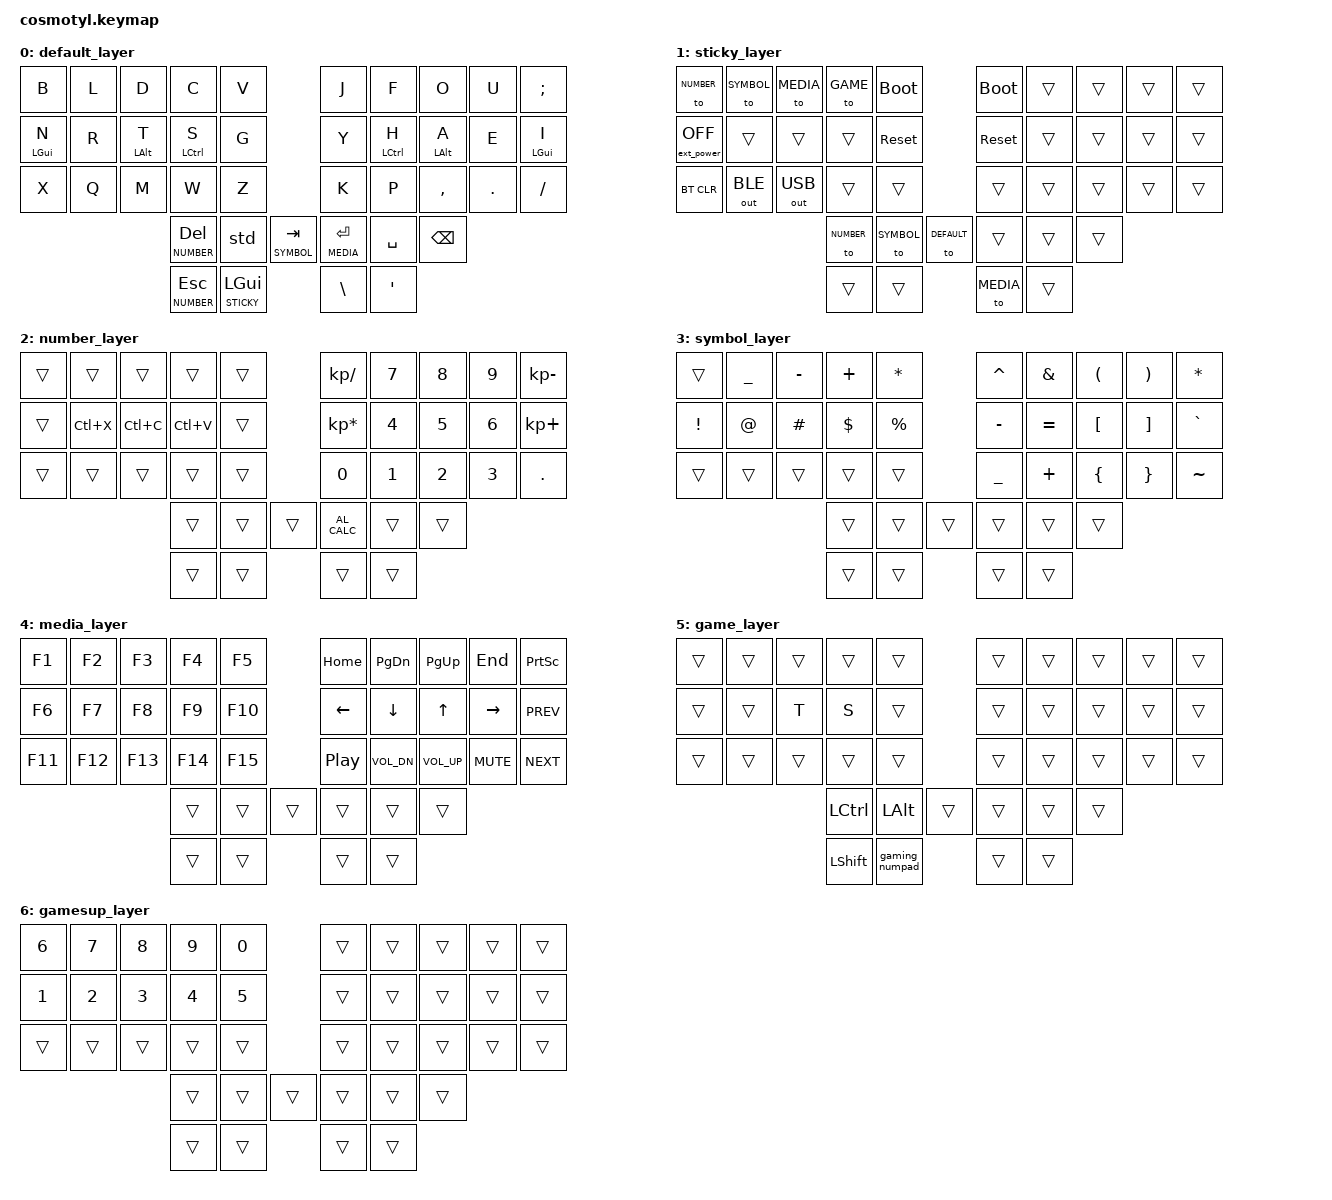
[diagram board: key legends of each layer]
/*
 * Copyright (c) 2020 The ZMK Contributors
 *
 * SPDX-License-Identifier: MIT
 */

#include <behaviors.dtsi>
#include <dt-bindings/zmk/keys.h>
#include <dt-bindings/zmk/bt.h>
#include <dt-bindings/zmk/outputs.h>
#include <dt-bindings/zmk/ext_power.h>

#define DEFAULT 0
#define STICKY  1
#define NUMBER  2
#define SYMBOL  3
#define MEDIA   4
#define GAME    5
#define GAMESUP 6

/ {
  behaviors {
    hm: homerow_mods {
      compatible = "zmk,behavior-hold-tap";
      #binding-cells = <2>;
      tapping-term-ms = <200>;
      require-prior-idle-ms = <150>;
      flavor = "tap-preferred";
      bindings = <&kp>, <&kp>;
    };
    llt: left_layer_tap {
      compatible = "zmk,behavior-hold-tap";
      #binding-cells = <2>;
      tapping-term-ms = <200>;
      flavor = "hold-preferred";
      bindings = <&mo>, <&kp>;
    };
    rlt: right_layer_tap {
      compatible = "zmk,behavior-hold-tap";
      #binding-cells = <2>;
      flavor = "balanced";
      tapping-term-ms = <200>;
      bindings = <&mo>, <&kp>;
    };
    sticky_shift: sticky_shift {
      compatible = "zmk,behavior-sticky-key";
      #binding-cells = <1>;
      bindings = <&kp>;
      release-after-ms = <1000>;
      quick-release;
      ignore-modifiers;
    };
    std: shift_tap_dance {
      compatible = "zmk,behavior-tap-dance";
      #binding-cells = <0>;
      tapping-term-ms = <200>;
      bindings = <&kp LSHIFT>, <&caps_word>;
    };
  };

  combos {
    compatible = "zmk,combos";
    combo_reset {
      timeout-ms = <50>;
      key-positions = <0 4 5 9>;
      bindings = <&bootloader>;
    };
    combo_sysreset {
      timeout-ms = <50>;
      key-positions = <20 24 25 29>;
      bindings = <&sys_reset>;
    };
  };

  macros {
    gaming_numpad: gaming_numpad {
      compatible = "zmk,behavior-macro";
      #binding-cells = <0>;
      bindings
        = <&macro_press &mo NUMBER>
        , <&macro_press &mo GAMESUP>
        , <&macro_pause_for_release>
        , <&macro_release &mo GAMESUP>
        , <&macro_release &mo NUMBER>
        ;
    };
  };

  keymap {
    compatible = "zmk,keymap";

    default_layer {
      bindings = <
   &kp B &kp L &kp D      &kp C       &kp V              &kp J &kp F       &kp O      &kp U   &kp SEMI
   &hm LGUI N &kp R &hm LALT T &hm LCTRL S &kp G              &kp Y &hm LCTRL H &hm LALT A &kp E   &hm LGUI I   
   &kp X &kp Q &kp M      &kp W       &kp Z              &kp K &kp P       &kp COMMA  &kp DOT &kp FSLH
         &llt NUMBER DEL &std &llt SYMBOL TAB       &rlt MEDIA RET &kp SPACE &kp BSPC
          &llt NUMBER ESC &llt STICKY LGUI     &kp BSLH &kp SQT
      >;
    };

    sticky_layer {
      bindings = <
   &to NUMBER &to SYMBOL &to MEDIA &to GAME &bootloader            &bootloader &trans &trans &trans &trans
   &ext_power EP_OFF &trans &trans &trans   &sys_reset             &sys_reset  &trans &trans &trans &trans
   &bt BT_CLR &out OUT_BLE &out OUT_USB &trans &trans                 &trans  &trans &trans &trans &trans
                 &to NUMBER &to SYMBOL &to DEFAULT       &trans &trans &trans
                            &trans     &trans  &to MEDIA &trans
      >;
    };

    number_layer {
      bindings = <
   &trans &trans    &trans    &trans    &trans               &kp KP_SLASH    &kp N7 &kp N8 &kp N9 &kp KP_MINUS
   &trans &kp LC(X) &kp LC(C) &kp LC(V) &trans               &kp KP_MULTIPLY &kp N4 &kp N5 &kp N6 &kp KP_PLUS 
   &trans &trans    &trans    &trans    &trans               &kp N0          &kp N1 &kp N2 &kp N3 &kp DOT     
                              &trans    &trans &trans     &kp C_AL_CALC &trans &trans
                              &trans    &trans            &trans &trans
      >;
    };

    symbol_layer {
      bindings = <
   &trans          &kp UNDER &kp MINUS &kp PLUS   &kp STAR                 &kp CARET &kp AMPS  &kp LPAR &kp RPAR &kp STAR 
   &kp EXCLAMATION &kp AT    &kp POUND &kp DOLLAR &kp PERCENT              &kp MINUS &kp EQUAL &kp LBKT &kp RBKT &kp GRAVE
   &trans          &trans    &trans    &trans     &trans                   &kp UNDER &kp PLUS  &kp LBRC &kp RBRC &kp TILDE
                                       &trans     &trans &trans         &trans &trans &trans
                                                  &trans &trans         &trans &trans
      >;
    };

    media_layer {
      bindings = <
   &kp F1  &kp F2  &kp F3  &kp F4  &kp F5               &kp HOME  &kp PG_DN    &kp PG_UP    &kp END    &kp PSCRN
   &kp F6  &kp F7  &kp F8  &kp F9  &kp F10              &kp LEFT  &kp DOWN     &kp UP       &kp RIGHT  &kp C_PREV
   &kp F11 &kp F12 &kp F13 &kp F14 &kp F15              &kp C_PP  &kp C_VOL_DN &kp C_VOL_UP &kp C_MUTE &kp C_NEXT
                           &trans  &trans &trans    &trans &trans &trans
                           &trans  &trans           &trans &trans
      >;
    };

    game_layer {
      bindings = <
   &trans &trans &trans &trans     &trans                &trans &trans &trans &trans &trans
   &trans &trans &kp T  &kp S      &trans                &trans &trans &trans &trans &trans
   &trans &trans &trans &trans     &trans                &trans &trans &trans &trans &trans
                        &kp LCTRL  &kp LALT &trans    &trans &trans &trans
                        &kp LSHIFT &gaming_numpad     &trans &trans
      >;
    };

    gamesup_layer {
      bindings = <
   &kp N6 &kp N7 &kp N8 &kp N9 &kp N0              &trans &trans &trans &trans &trans
   &kp N1 &kp N2 &kp N3 &kp N4 &kp N5              &trans &trans &trans &trans &trans
   &trans &trans &trans &trans &trans              &trans &trans &trans &trans &trans
                        &trans &trans &trans    &trans &trans &trans
                        &trans &trans           &trans &trans
      >;
    };

  };
};
